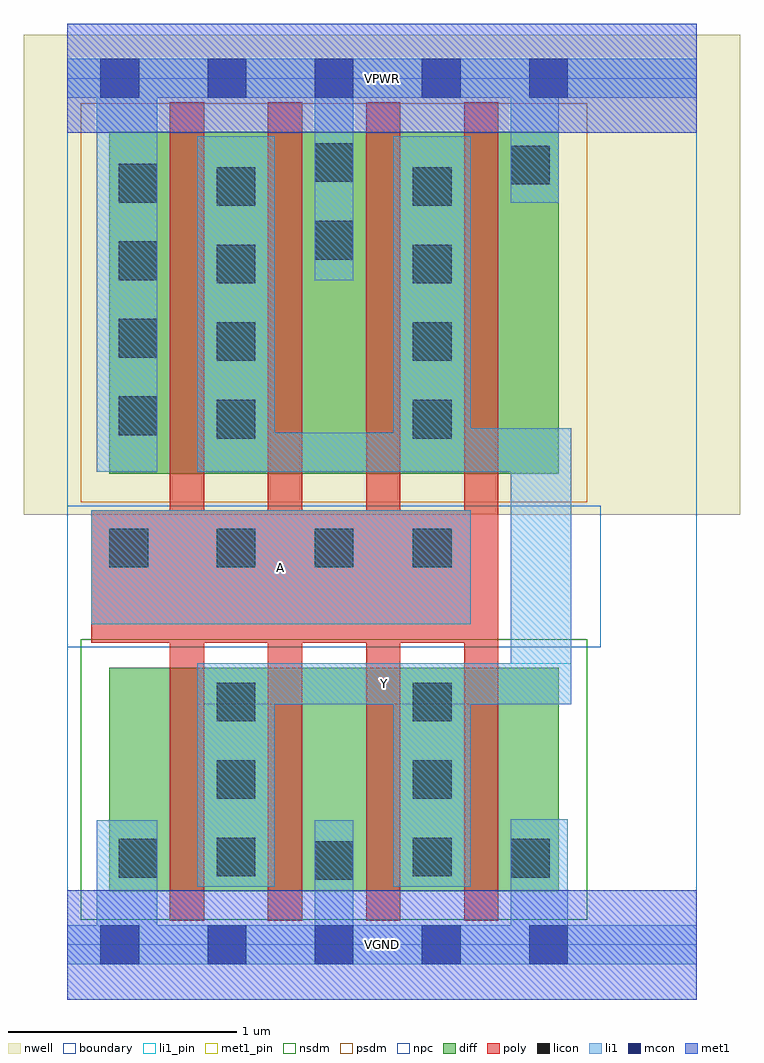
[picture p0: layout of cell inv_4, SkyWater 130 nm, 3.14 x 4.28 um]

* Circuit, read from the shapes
.subckt inv_4 A VGND VPWR Y
XM1 Y A VGND VSUBS sky130_fd_pr__nfet_01v8 w=0.98 l=0.15 m=4
XM2 Y A VPWR n1 sky130_fd_pr__pfet_01v8 w=1.5 l=0.15 m=4
.ends

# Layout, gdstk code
import gdstk
lib = gdstk.Library(unit=1e-6, precision=1e-09)
def R(c, l, rs):  # rectangles x0, y0, x1, y1
    for r in rs: c.add(gdstk.rectangle(r[:2], r[2:], *l))
def A(c, l, x, y, w, h, nx, ny, dx, dy):  # array of equal rectangles
    R(c, l, [(x+i*dx, y+j*dy, x+i*dx+w, y+j*dy+h) for i in range(nx) for j in range(ny)])
nwell = (64, 20)
diff = (65, 20)
poly = (66, 20)
licon = (66, 44)
li1_pin = (67, 16)
li1 = (67, 20)
mcon = (67, 44)
met1_pin = (68, 16)
met1 = (68, 20)
nsdm = (93, 44)
psdm = (94, 20)
npc = (95, 20)
boundary = (235, 4)

inv_4 = lib.new_cell('inv_4')
R(inv_4, nwell, [(-0.19,1.885,2.95,3.99), (0,1.885,2.76,3.99)])
R(inv_4, diff, [(0.185,0.235,2.155,1.215), (0.185,2.065,2.155,3.565)])
A(inv_4, poly, 0.45, 0.105, 0.15, 3.59, 4, 1, 0.43, 0)
R(inv_4, poly, [(0.105,1.325,1.89,1.905)])
A(inv_4, licon, 0.655, 0.3, 0.17, 0.17, 1, 3, 0, 0.34)
A(inv_4, licon, 1.515, 0.3, 0.17, 0.17, 1, 3, 0, 0.34)
A(inv_4, licon, 0.655, 1.655, 0.17, 0.17, 3, 1, 0.43, 0)
A(inv_4, licon, 0.655, 2.22, 0.17, 0.17, 1, 4, 0, 0.34)
A(inv_4, licon, 1.515, 2.22, 0.17, 0.17, 1, 4, 0, 0.34)
A(inv_4, licon, 0.225, 2.235, 0.17, 0.17, 1, 4, 0, 0.34)
R(inv_4, licon, [(1.085,0.285,1.255,0.455), (0.225,0.295,0.395,0.465), (1.945,0.295,2.115,0.465), (0.185,1.655,0.355,1.825), (1.085,3.005,1.255,3.175), (1.945,3.335,2.115,3.505), (1.085,3.345,1.255,3.515)])
R(inv_4, li1_pin, [(0.57,1.055,2.21,1.235), (0.105,1.405,1.77,1.905)])
R(inv_4, li1, [(0,-0.085,2.76,0.085), (0.13,-0.085,0.395,0.545), (1.085,-0.085,1.255,0.545), (1.945,-0.085,2.195,0.55), (0.57,0.255,0.91,1.235), (1.43,0.255,1.77,1.235), (0.57,1.055,2.21,1.235), (1.945,1.055,2.21,2.265), (0.105,1.405,1.77,1.905), (0.13,2.075,0.395,3.885), (0.57,2.075,0.91,3.545), (0.57,2.075,2.21,2.245), (1.43,2.075,1.77,3.545), (1.43,2.075,2.21,2.265), (1.085,2.915,1.255,3.885), (1.945,3.255,2.155,3.885), (0,3.715,2.76,3.885)])
A(inv_4, mcon, 0.145, -0.085, 0.17, 0.17, 5, 2, 0.47, 3.8)
R(inv_4, met1_pin, [(0,-0.24,2.76,0.24), (0,3.56,2.76,4.04)])
R(inv_4, met1, [(0,-0.24,2.76,0.24), (0,3.56,2.76,4.04)])
R(inv_4, nsdm, [(0.06,0.11,2.28,1.34)])
R(inv_4, psdm, [(0.06,1.94,2.28,3.69)])
R(inv_4, npc, [(0,1.305,2.34,1.925)])
R(inv_4, boundary, [(0,0,2.76,3.8)])
inv_4.add(gdstk.Label('A', (0.937,1.655), layer=67, texttype=5))
inv_4.add(gdstk.Label('Y', (1.39,1.145), layer=67, texttype=5))
inv_4.add(gdstk.Label('VPWR', (1.38,3.8), layer=68, texttype=5))
inv_4.add(gdstk.Label('VGND', (1.38,0), layer=68, texttype=5))
inv_4.add(gdstk.Label('A', (0.937,1.655), layer=67, texttype=16))
inv_4.add(gdstk.Label('Y', (1.39,1.145), layer=67, texttype=16))
inv_4.add(gdstk.Label('VPWR', (1.38,3.8), layer=68, texttype=16))
inv_4.add(gdstk.Label('VGND', (1.38,0), layer=68, texttype=16))

lib.write_gds('inv_4.gds')
